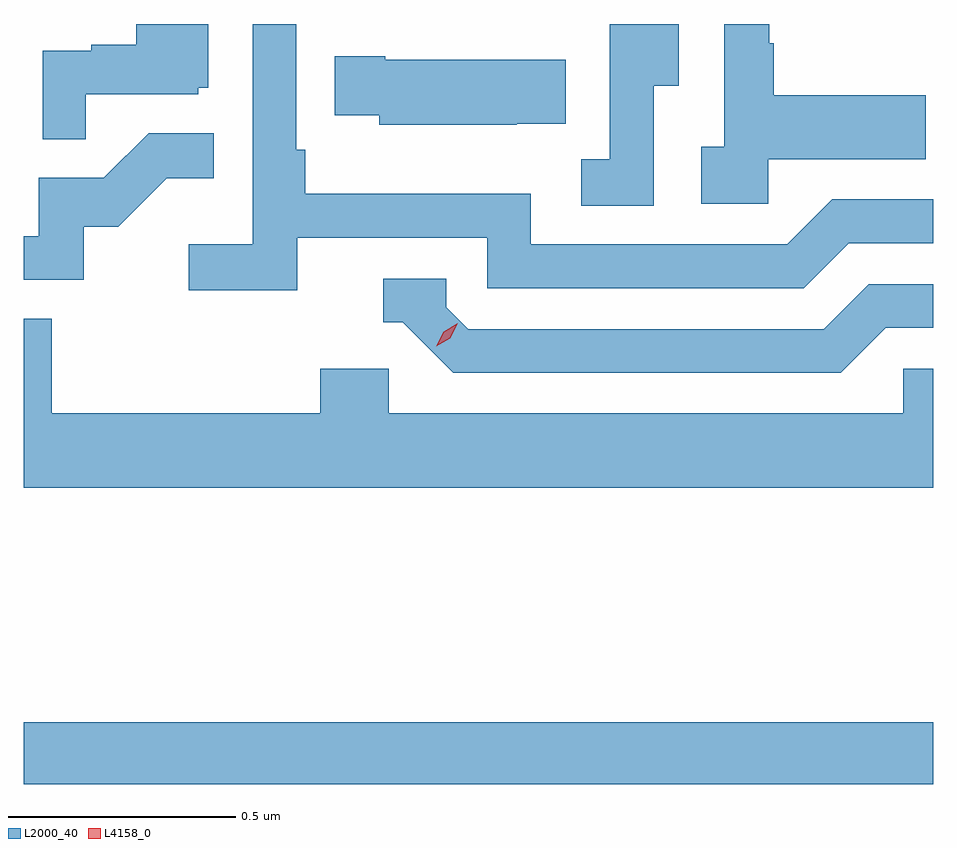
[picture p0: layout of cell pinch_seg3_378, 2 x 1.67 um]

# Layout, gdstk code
import gdstk
lib = gdstk.Library(unit=1e-6, precision=1e-09)
def R(c, l, rs):  # rectangles x0, y0, x1, y1
    for r in rs: c.add(gdstk.rectangle(r[:2], r[2:], *l))
def P(c, l, *ps):  # polygons
    for p in ps: c.add(gdstk.Polygon(p, *l))
L2000_40 = (2000, 40)
L4158_0 = (4158, 0)

pinch_seg3_378 = lib.new_cell('pinch_seg3_378')
R(pinch_seg3_378, L2000_40, [(970.735,689.608,972.735,689.744)])
P(pinch_seg3_378, L2000_40, [(971.336,690.81),(971.754,690.81),(971.754,690.699),(972.451,690.699),(972.55,690.798),(972.735,690.798),(972.735,690.894),(972.513,690.894),(972.414,690.795),(971.85,690.795),(971.85,690.907),(971.354,690.907),(971.354,691.003),(971.334,691.003),(971.334,691.28),(971.238,691.28),(971.238,690.796),(971.097,690.796),(971.097,690.694),(971.336,690.694)],
  [(972.372,690.983),(972.719,690.983),(972.719,691.123),(972.385,691.123),(972.385,691.238),(972.375,691.238),(972.375,691.28),(972.276,691.28),(972.276,691.01),(972.225,691.01),(972.225,690.885),(972.372,690.885)],
  [(970.871,691.125),(971.118,691.125),(971.118,691.14),(971.14,691.14),(971.14,691.28),(970.982,691.28),(970.982,691.234),(970.883,691.234),(970.883,691.221),(970.776,691.221),(970.776,691.027),(970.871,691.027)],
  [(972.12,691.144),(972.175,691.144),(972.175,691.28),(972.024,691.28),(972.024,690.983),(971.961,690.983),(971.961,690.88),(972.12,690.88)],
  [(971.819,691.061),(971.927,691.061),(971.927,691.201),(971.53,691.201),(971.53,691.209),(971.419,691.209),(971.419,691.079),(971.517,691.079),(971.517,691.058),(971.819,691.058)],
  [(970.866,690.834),(970.942,690.834),(971.049,690.941),(971.153,690.941),(971.153,691.04),(971.009,691.04),(970.911,690.942),(970.767,690.942),(970.767,690.813),(970.735,690.813),(970.735,690.717),(970.866,690.717)],
  [(972.631,690.612),(972.735,690.612),(972.735,690.708),(972.594,690.708),(972.495,690.609),(971.712,690.609),(971.664,690.657),(971.664,690.72),(971.525,690.72),(971.525,690.624),(971.568,690.624),(971.679,690.513),(972.532,690.513)],
  [(972.735,690.522),(972.669,690.522),(972.669,690.424),(971.538,690.424),(971.538,690.522),(971.387,690.522),(971.387,690.424),(970.796,690.424),(970.796,690.632),(970.735,690.632),(970.735,690.26),(972.735,690.26)])
P(pinch_seg3_378, L4158_0, [(971.642,690.571),(971.642,690.571),(971.658,690.603),(971.689,690.622),(971.689,690.622),(971.689,690.622),(971.673,690.589),(971.642,690.571)])

lib.write_gds('pinch_seg3_378.gds')
